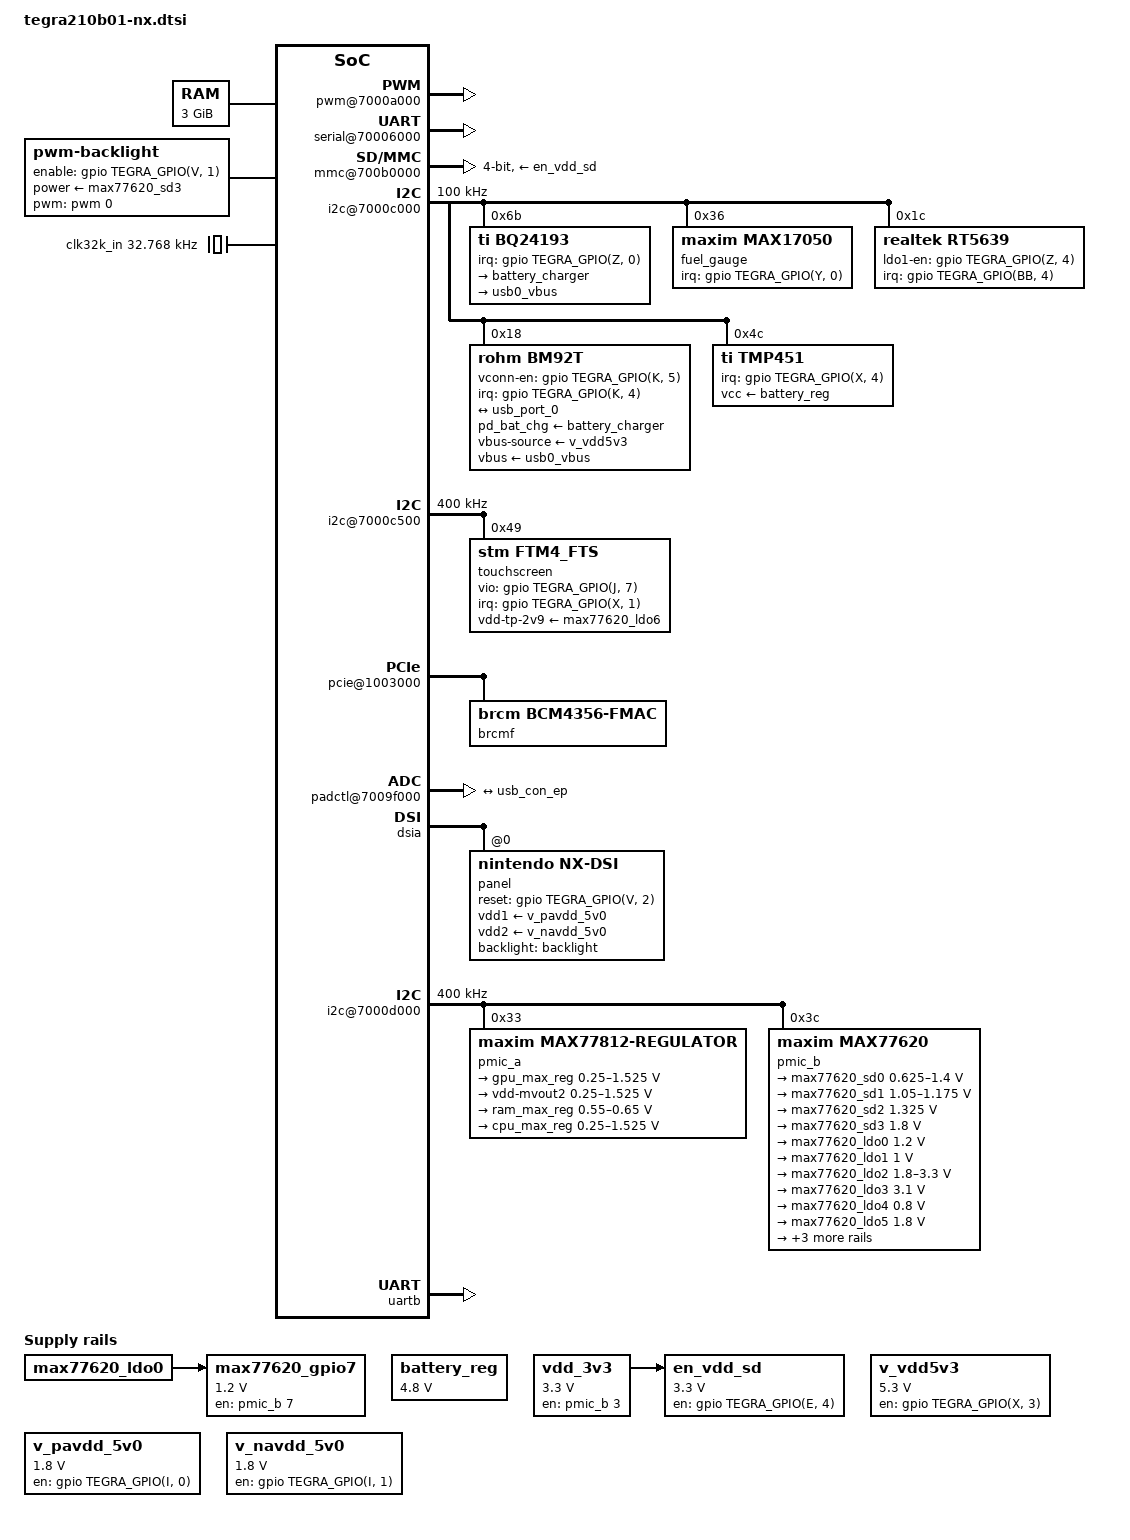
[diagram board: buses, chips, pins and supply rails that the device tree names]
// SPDX-License-Identifier: GPL-2.0
#include <dt-bindings/mfd/max77620.h>
#include <dt-bindings/thermal/tegra210b01-trips.h>
#include <dt-bindings/thermal/thermal.h>

#include "tegra210b01.dtsi"

/ {
	aliases {
		serial0 = &uarta;
		serial1 = &uartb;
	};

	chosen {
		stdout-path = "serial1:115200n8";
	};

	memory@80000000 {
		device_type = "memory";
		reg = <0x0 0x80000000 0x0 0xc0000000>;
	};

	pwm@7000a000 {
		status = "okay";
		#pwm-cells = <2>;
	};

	serial@70006000 {
		/delete-property/ dmas;
		/delete-property/ dma-names;
		status = "okay";
	};

	/* SDMMC4 for EMMC */
	mmc@700b0600 {
		status = "disabled";
		bus-width = <8>;
		max-frequency = <200000000>;

		cd-gpios = <&gpio TEGRA_GPIO(Z, 1) GPIO_ACTIVE_HIGH>;

		cap-mmc-highspeed;
		mmc-ddr-1_8v;
		mmc-hs200-1_8v;
		mmc-hs400-1_8v;
		non-removable;

		vqmmc-supply = <&max77620_sd3>;
		vmmc-supply = <&vdd_3v3>;
	};

	/* SDMMC3 Not Used */
	mmc@700b0400 {
		status = "disabled";
	};

	/* SDMMC2 for Gamecard */
	mmc@700b0200 {
		status = "disabled";
		bus-width = <8>;
		max-frequency = <200000000>;

		mmc-ddr-1_8v;
		mmc-hs400-1_8v;
		mmc-hs200-1_8v;
		cap-mmc-highspeed;
		cap-sd-highspeed;
		non-removable;

		vqmmc-supply = <&max77620_sd3>;
		vmmc-supply = <&vdd_3v3>;
	};

	/* SDMMC1 for SD Card */
	mmc@700b0000 {
		status = "okay";
		bus-width = <4>;
		max-frequency = <200000000>;

		cap-sd-highspeed;
		sd-uhs-sdr12;
		sd-uhs-sdr50;
		sd-uhs-sdr104;

		vmmc-supply = <&en_vdd_sd>;
		vqmmc-supply = <&max77620_ldo2>;
	};

	i2c@7000c000 {
		status = "okay";
		clock-frequency = <100000>;

		bq24193@6b {
			compatible = "ti,bq24193";
			reg = <0x6b>;

			interrupt-parent = <&gpio>;
			interrupts = <TEGRA_GPIO(Z, 0) IRQ_TYPE_LEVEL_LOW>;

			monitored-battery = <&fuel_gauge>;
			#extcon-cells = <1>;

			omit-battery-class;

			battery_charger: charger {
				regulator-name = "batt_regulator";
				regulator-max-microamp = <4500000>;
			};

			usb0_vbus: usb-otg-vbus {
				regulator-name = "vbus_regulator";
			};
		};

		fuel_gauge: fuel-gauge@36 {
			compatible = "maxim,max17050";
			status = "okay";
			reg = <0x36>;

			interrupt-parent = <&gpio>;
			interrupts = <TEGRA_GPIO(Y, 0) IRQ_TYPE_NONE>;

			/* Actual is 5000 but driver does not account for CGAIN */
			/* And does not take into account Rsense and CGAIN for capacity */
			maxim,rsns-microohm = <10000>;
			maxim,over-heat-temp = <600>;
			maxim,dead-volt = <3000>;
			maxim,over-volt = <4208>; /* Actual: 4258 mV */

			#thermal-sensor-cells = <0>;
		};

		rt5639: audio-codec@1c {
			status = "okay";
			compatible = "realtek,rt5639";
			reg = <0x1c>;
			interrupt-parent = <&gpio>;
			interrupts = <TEGRA_GPIO(BB, 4) IRQ_TYPE_EDGE_RISING>;
			realtek,ldo1-en-gpios = <&gpio TEGRA_GPIO(Z, 4) GPIO_ACTIVE_HIGH>;
			realtek,over-current-threshold-microamp = <600>;
			realtek,over-current-scale-factor = <2>;
			realtek,jack-detect-is-jd1;
		};

		/* PD Chip */
		bm92t: bm92t@18 {
			compatible = "rohm,bm92t";
			reg = <0x18>;
			interrupt-parent = <&gpio>;
			interrupts = <TEGRA_GPIO(K, 4) IRQ_TYPE_EDGE_RISING>;
			#extcon-cells = <1>;
			pd_bat_chg-supply = <&battery_charger>;
			vbus-source-supply = <&v_vdd5v3>;
			vbus-supply = <&usb0_vbus>;
			rohm,vconn-en-gpio = <&gpio TEGRA_GPIO(K, 5) GPIO_ACTIVE_HIGH>;

			rohm,dp-lanes = <2>;
			rohm,dp-signal-toggle-on-resume;

			/* Absolute max is 2.4A, constrained by BQ24193 ILIM */
			rohm,pd-5v-current-limit-ma = <2000>;
			rohm,pd-9v-current-limit-ma = <2000>;
			rohm,pd-12v-current-limit-ma = <1500>;
			rohm,pd-15v-current-limit-ma = <1200>;

			port {
				usb_con_ep: endpoint {
					remote-endpoint = <&usb_port_0>;
				};
			};
		};

		tmp451: temperature-sensor@4c {
			compatible = "ti,tmp451";
			status = "okay";
			reg = <0x4c>;

			interrupt-parent = <&gpio>;
			interrupts = <TEGRA_GPIO(X, 4) IRQ_TYPE_EDGE_FALLING>;
			vcc-supply = <&battery_reg>;

			#thermal-sensor-cells = <1>;
		};
    	};

	/* i2c3 @ 400000hz
	49: stm touchscreen controller
	*/
	i2c@7000c500 {
		status = "okay";
		clock-frequency = <400000>;

		touchscreen@49 {
			compatible = "stm,ftm4_fts";
			status = "okay";
			reg = <0x49>;
			interrupt-parent = <&gpio>;
			interrupts = <TEGRA_GPIO(X, 1) IRQ_TYPE_LEVEL_LOW>;
			vdd-tp-2v9-supply = <&max77620_ldo6>;
			stm,vio-gpio = <&gpio TEGRA_GPIO(J, 7) GPIO_ACTIVE_HIGH>;
			stm,irq_type = <0x2000>; /* IRQF_ONESHOT */
			stm,regulator_avdd = "vdd-tp-2v9";
			stm,max_coords = <1280 720>;
			stm,max-real-coords = <1264 704>;
			stm,edge-offset = <15 15>;
			stm,delayed-open;
			stm,delayed-open-time = <0>;
		};
	};

	gpu@57000000 {
		status = "okay";
		vdd-supply = <&gpu_max_reg>;
	};

	backlight: backlight {
		status = "okay";
		compatible = "pwm-backlight";
		pwms = <&pwm 0 33898>;
		pwm-names = "backlight";
		brightness-levels = <
			0 1 2 3 4 5 6 7 8 9 10 11 12 13 14 15 16
			17 18 19 20 21 22 23 24 25 26 27 28 29 30
			31 32 33 34 35 36 37 38 39 40 41 42 43 44
			45 46 47 48 49 50 51 52 53 54 55 56 57 58
			59 60 61 62 63 64 65 66 67 68 69 70 71 72
			73 74 75 76 77 78 79 80 81 82 83 84 85 86
			87 88 89 90 91 92 93 94 95 96 97 98 99 100
		>;
		default-brightness-level = <50>;
		enable-gpios = <&gpio TEGRA_GPIO(V, 1) GPIO_ACTIVE_HIGH>;
		power-supply = <&max77620_sd3>;
	};

	/* Fixed regulators */
	battery_reg: vdd-ac-bat {
		compatible = "regulator-fixed";
		status = "okay";
		regulator-name = "vdd-ac-bat";
		regulator-min-microvolt = <4800000>;
		regulator-max-microvolt = <4800000>;
		regulator-always-on;
		regulator-boot-on;
	};

	vdd_3v3: vdd-3v3 {
		compatible = "regulator-fixed";
		regulator-name = "vdd-3v3";
		regulator-min-microvolt = <3300000>;
		regulator-max-microvolt = <3300000>;
		regulator-always-on;
		gpio = <&pmic_b 3 0>;
		enable-active-high;
		regulator-enable-ramp-delay = <160>;
		regulator-disable-ramp-delay = <10000>;
	};

	v_vdd5v3: v-vdd5v3 {
		compatible = "regulator-fixed";
		status = "okay"; /* Only enabled on Modin/Vali/Fric */
		regulator-name = "v_vdd5v3";
		regulator-min-microvolt = <5300000>;
		regulator-max-microvolt = <5300000>;
		gpio = <&gpio TEGRA_GPIO(X, 3) 0>;
		enable-active-high;
		regulator-enable-ramp-delay = <10000>;
	};

	max77620_gpio7: avdd-dsi-csi-1v2 {
		compatible = "regulator-fixed";
		regulator-name = "max77620-gpio7";
		regulator-min-microvolt = <1200000>;
		regulator-max-microvolt = <1200000>;
		regulator-boot-on; /* Must be set for seamless display */
		gpio = <&pmic_b 7 0>;
		enable-active-high;
		regulator-enable-ramp-delay = <240>;
		regulator-disable-ramp-delay = <11340>;
		vin-supply = <&max77620_ldo0>;
	};

	// lcd_bl_en: lcd-bl-en {
	// 	compatible = "regulator-fixed";
	// 	regulator-name = "lcd-bl-en";
	// 	regulator-min-microvolt = <1800000>;
	// 	regulator-max-microvolt = <1800000>;
	// 	gpio = <&gpio TEGRA_GPIO(V, 1) 0>;
	// 	regulator-boot-on; /* Must be set for seamless display */
	// 	enable-active-high;
	// 	regulator-always-on;
	// 	regulator-state-mem {
	// 		regulator-off-in-suspend;
	// 	};
	// };

	en_vdd_sd: en-vdd-sd {
		compatible = "regulator-fixed";
		regulator-name = "en-vdd-sd";
		regulator-min-microvolt = <3300000>;
		regulator-max-microvolt = <3300000>;
		gpio = <&gpio TEGRA_GPIO(E, 4) 0>;
		enable-active-high;
		regulator-enable-ramp-delay = <472>;
		regulator-disable-ramp-delay = <4880>;
		vin-supply = <&vdd_3v3>;
	};

	/* LCD Power Enable +5V. Rohm BD8316GWL. */
	v_pavdd_5v0: v-pavdd-5v0 {
		compatible = "regulator-fixed";
		regulator-name = "v_pavdd_5v0";
		regulator-min-microvolt = <1800000>;
		regulator-max-microvolt = <1800000>;
		gpio = <&gpio TEGRA_GPIO(I, 0) 0>;
		enable-active-high;
		regulator-boot-on; /* Must be set for seamless display */
		regulator-enable-ramp-delay = <232>;
	};

	/* LCD Power Enable -5V. Rohm BD8316GWL. */
	v_navdd_5v0: v-navdd-5v0 {
		compatible = "regulator-fixed";
		regulator-name = "v_navdd_5v0";
		regulator-min-microvolt = <1800000>;
		regulator-max-microvolt = <1800000>;
		gpio = <&gpio TEGRA_GPIO(I, 1) 0>;
		enable-active-high;
		regulator-boot-on; /* Must be set for seamless display */
		regulator-enable-ramp-delay = <232>;
	};

	soctherm@700E2000 {
		throttle-cfgs {
			/* PG/ACOK/USB OC pin. CLK_32K_OUT. Used for LED PWM on Vali. */
			/*
			throttle_oc1: oc1 { // Sticky mode but not supported.
				nvidia,priority = <16>;
				nvidia,polarity-active-low = <1>;
				nvidia,count-threshold = <0>;
				nvidia,throttle-period = <2500000>;
				nvidia,alarm-filter = <0xFFFFFFFF>;
				nvidia,cpu-throt-percent = <75>;
				nvidia,gpu-throt-level = <TEGRA_SOCTHERM_THROT_LEVEL_MED>;
			};
			*/

			/* Battery OC pin. GPIO_PL1. Traced but missing resistor. */
			/*
			throttle_oc2: oc2 {
				nvidia,priority = <24>;
				nvidia,polarity-active-low = <1>;
				nvidia,count-threshold = <0>;
				nvidia,throttle-period = <100>;
				nvidia,alarm-filter = <0xFFFFFFFF>;
				nvidia,cpu-throt-percent = <75>;
				nvidia,gpu-throt-level = <TEGRA_SOCTHERM_THROT_LEVEL_MED>;
			};
			*/

			/* throttle_oc3: oc3: GPIO_PZ5. Floating. */
		};
	};

	thermal-zones {
		PLL-therm {
			status = "okay";
			polling-delay-passive = <500>;
			thermal-zone-params {
				governor-name = "step_wise";
			};
			trips {
				cpu_heavy {
					temperature = <94500>;
					hysteresis = <0>;
					type = "hot";
					writable;
				};
				cpu_throttle {
					temperature = <90500>;
					hysteresis = <0>;
					type = "passive";
					writable;
				};
				cpu_critical {
					temperature = <96000>;
					hysteresis = <0>;
					type = "critical";
					writable;
				};
				dfll_cap_trip0: dfll-cap-trip0 {
					temperature = <TEGRA210B01_DFLL_THERMAL_CAP_0>;
					hysteresis = <1000>; /* millicelsius */
					type = "active";
				};
				dfll_cap_trip1: dfll-cap-trip1 {
					temperature = <TEGRA210B01_DFLL_THERMAL_CAP_1>;
					hysteresis = <1000>; /* millicelsius */
					type = "active";
				};
			};
			// cooling-maps {
			// 	map0 {
			// 		trip = <&{/thermal-zones/PLL-therm/trips/cpu_heavy}>;
			// 		cdev-type = "tegra-heavy";
			// 		cooling-device = <&throttle_heavy 1 1>;
			// 	};
			// 	map1 {
			// 		trip = <&{/thermal-zones/PLL-therm/trips/cpu_throttle}>;
			// 		cdev-type = "cpu-balanced";
			// 		cooling-device = <&{/bthrot_cdev/cpu_balanced}
			// 			THERMAL_NO_LIMIT THERMAL_NO_LIMIT>;
			// 	};
			// 	dfll-cap-map0 {
			// 		trip = <&dfll_cap_trip0>;
			// 		cooling-device = <&dfll_cap 1 1>;
			// 	};
			// 	dfll-cap-map1 {
			// 		trip = <&dfll_cap_trip1>;
			// 		cooling-device = <&dfll_cap 2 2>;
			// 	};
			// };
		};
		Tboard_tegra {
			status = "okay";
			polling-delay = <0>;
			polling-delay-passive = <5500>;

			trips {
				board_emergency {
					temperature = <85000>;
					hysteresis = <2000>;
					type = "passive";
					writable;
				};
			};
			// cooling-maps {
			// 	map0 {
			// 		trip = <&{/thermal-zones/Tboard_tegra/trips/board_emergency}>;
			// 		cdev-type = "emergency-balanced";
			// 		cooling-device = <&{/bthrot_cdev/emergency_balanced}
			// 			THERMAL_NO_LIMIT THERMAL_NO_LIMIT>;
			// 	};
			// };
		};
		Tdiode_tegra {
			status = "okay";
			polling-delay = <0>;
			polling-delay-passive = <1100>;

			trips {
				gpu_shutdown {
					temperature = <92500>;
					hysteresis = <0>;
					type = "critical";
					writable;
				};

				gpu_throttle {
					temperature = <86000>;
					hysteresis = <0>;
					type = "passive";
					writable;
				};
				gpu_scaling_trip0: gpu-scaling-trip0 {
					temperature = <(TEGRA210B01_GPU_DVFS_THERMAL_MIN)>;
					hysteresis = <0>; /* millicelsius */
					type = "active";
				};
				gpu_scaling_trip1: gpu-scaling-trip1 {
					temperature = <TEGRA210B01_GPU_DVFS_THERMAL_TRIP_1>;
					hysteresis = <1000>; /* millicelsius */
					type = "active";
				};
				gpu_scaling_trip2: gpu-scaling-trip2 {
					temperature = <TEGRA210B01_GPU_DVFS_THERMAL_TRIP_2>;
					hysteresis = <1000>; /* millicelsius */
					type = "active";
				};
				gpu_scaling_trip3: gpu-scaling-trip3 {
					temperature = <TEGRA210B01_GPU_DVFS_THERMAL_TRIP_3>;
					hysteresis = <1000>; /* millicelsius */
					type = "active";
				};
				gpu_scaling_trip4: gpu-scaling-trip4 {
					temperature = <TEGRA210B01_GPU_DVFS_THERMAL_TRIP_4>;
					hysteresis = <1000>; /* millicelsius */
					type = "active";
				};
				gpu_scaling_trip5: gpu-scaling-trip5 {
					temperature = <TEGRA210B01_GPU_DVFS_THERMAL_TRIP_5>;
					hysteresis = <1000>; /* millicelsius */
					type = "active";
				};

				gpu_vmax_trip1: gpu-vmax-trip1 {
					temperature = <TEGRA210B01_GPU_DVFS_THERMAL_CAP_1>;
					hysteresis = <1000>; /* millicelsius */
					type = "active";
				};
				core_dvfs_floor_trip0: core_dvfs_floor_trip0 {
					temperature = <TEGRA210B01_SOC_THERMAL_FLOOR_0>;
					hysteresis = <1000>;
					type = "active";
				};

				core_dvfs_cap_trip0: core_dvfs_cap_trip0 {
					temperature = <TEGRA210B01_SOC_THERMAL_CAP_0>;
					hysteresis = <1000>;
					type = "active";
				};
				soc_critical {
					temperature = <96000>;
					hysteresis = <0>;
					type = "critical";
					writable;
				};
				soc_emergency {
					temperature = <85000>;
					hysteresis = <2000>;
					type = "passive";
					writable;
				};
				dfll_floor_trip0: dfll-floor-trip0 {
					temperature = <TEGRA210B01_DFLL_THERMAL_FLOOR_0>;
					hysteresis = <1000>; /* millicelsius */
					type = "active";
				};
			};
			cooling-maps {
				// map0 {
				// 	trip = <&{/thermal-zones/Tdiode_tegra/trips/soc_critical}>;
				// 	cdev-type = "tegra-shutdown";
				// 	cooling-device = <&{/soctherm@0x700E2000/throttle@critical}
				// 		THERMAL_NO_LIMIT THERMAL_NO_LIMIT>;
				// };
				// map1 {
				// 	trip = <&{/thermal-zones/Tdiode_tegra/trips/soc_emergency}>;
				// 	cdev-type = "emergency-balanced";
				// 	cooling-device = <&{/bthrot_cdev/emergency_balanced}
				// 		THERMAL_NO_LIMIT THERMAL_NO_LIMIT>;
				// };
				// gpu-scaling-map1 {
				// 	trip = <&gpu_scaling_trip1>;
				// 	cooling-device = <&gpu_scaling_cdev 1 1>;
				// };
				// gpu-scaling-map2 {
				// 	trip = <&gpu_scaling_trip2>;
				// 	cooling-device = <&gpu_scaling_cdev 2 2>;
				// };
				// gpu_scaling_map3 {
				// 	trip = <&gpu_scaling_trip3>;
				// 	cooling-device = <&gpu_scaling_cdev 3 3>;
				// };
				// gpu-scaling-map4 {
				// 	trip = <&gpu_scaling_trip4>;
				// 	cooling-device = <&gpu_scaling_cdev 4 4>;
				// };
				// gpu-scaling-map5 {
				// 	trip = <&gpu_scaling_trip5>;
				// 	cooling-device = <&gpu_scaling_cdev 5 5>;
				// };

				// gpu-vmax-map1 {
				// 	trip = <&gpu_vmax_trip1>;
				// 	cooling-device = <&gpu_vmax_cdev 1 1>;
				// };

				core_dvfs_floor_map0 {
					trip = <&core_dvfs_floor_trip0>;
					cooling-device = <&core_dvfs_floor 1 1>;
				};
				core_dvfs_cap_map0 {
					trip = <&core_dvfs_cap_trip0>;
					cooling-device = <&core_dvfs_cap 1 1>;
				};

				dfll-floor-map0 {
					trip = <&dfll_floor_trip0>;
					cooling-device = <&dfll_floor 1 1>;
				};
				// map2 {
				// 	trip = <&{/thermal-zones/Tdiode_tegra/trips/gpu_throttle}>;
				// 	cdev-type = "gpu-balanced";
				// 	cooling-device = <&{/bthrot_cdev/gpu_balanced}
				// 		THERMAL_NO_LIMIT THERMAL_NO_LIMIT>;
				// };
			};
		};
		AO-therm {
			status = "okay";
		};
	};

	pcie@1003000 {
		status = "okay";
		/* R08: GPIO is exclusively owned by PCIe for a real cold cycle. */
		wlan-reg-on-gpios = <&gpio TEGRA_GPIO(H, 1) GPIO_ACTIVE_HIGH>;

		avdd-pll-uerefe-supply = <&max77620_ldo1>;
		hvddio-pex-supply = <&max77620_sd3>;
		dvddio-pex-supply = <&max77620_ldo1>;
		dvdd-pex-pll-supply = <&max77620_ldo1>;
		hvdd-pex-pll-e-supply = <&max77620_sd3>;
		vddio-pex-ctl-supply = <&max77620_sd3>;

		pci@1,0 {
			nvidia,num-lanes = <2>;
			phys =	<&{/padctl@7009f000/pads/pcie/lanes/pcie-3}>, /* Referred to plat config */
				<&{/padctl@7009f000/pads/pcie/lanes/pcie-2}>;
			phy-names = "pcie-0", "pcie-1";
			status = "disabled";
		};

		pci@2,0 {
			status = "okay";
			/* R10: match the working L4T PCIe CLKREQ# policy. */
			supports-clkreq;
			phys = <&{/padctl@7009f000/pads/pcie/lanes/pcie-0}>;
			phy-names = "pcie-0";

			brcmf { /* PCIE-0 (Port 1) */
				compatible = "brcm,bcm4356-fmac";
			};
		};
	};

	padctl@7009f000 {
		status =  "okay";

		pads {
			usb2 {
				status = "okay";

				lanes {
					usb2-0 {
						nvidia,hs_curr_level_offset = <6>;
						nvidia,function = "xusb";
						status = "okay";
					};
				};
			};

			pcie {
				status = "okay";

				lanes {
					/* BCM4356A3-WiFi */
					pcie-0 {
						nvidia,function = "pcie-x1";
						status = "okay";
					};

					/* Unused ports */
					pcie-1 {
						nvidia,function = "usb3-ss";
						status = "okay";
					};

					pcie-2 {
						nvidia,function = "pcie-x4";
						status = "okay";
					};

					pcie-3 {
						nvidia,function = "pcie-x4";
						status = "okay";
					};

					pcie-4 {
						nvidia,function = "usb3-ss";
						status = "okay";
					};

					/* USB3 port */
					pcie-5 {
						nvidia,function = "usb3-ss";
						status = "okay";
					};
				};
			};
		};

		ports {
			usb2-0 {
				status = "okay";
				mode = "otg";

				usb-role-switch;
				role-switch-default-mode = "peripheral";
				vbus-supply = <&battery_reg>;

				#address-cells = <1>;
				#size-cells = <0>;

				usb_port_0: endpoint@0 {
					reg = <0>;
					remote-endpoint = <&usb_con_ep>;
				};
			};

			usb3-0 {
				status = "okay";
				nvidia,usb2-companion = <0>;
			};
		};
	};

	pinmux@700008d4 {
		dsi_ab_pad_default: dsi_ab_pad_default {
			dsi_ab_pad_enable {
				nvidia,pins = "pad_dsi_ab";
				nvidia,pad-power = <TEGRA_PIN_ENABLE>;
			};
		};
		dsi_cd_pad_default: dsi_cd_pad_default {
			dsi_cd_pad_enable {
				nvidia,pins = "pad_dsi_cd";
				nvidia,pad-power = <TEGRA_PIN_ENABLE>;
			};
		};
		dsi_ab_pad_idle: dsi_ab_pad_idle {
			dsi_ab_pad_disable {
				nvidia,pins = "pad_dsi_ab";
				nvidia,pad-power = <TEGRA_PIN_DISABLE>;
			};
		};
		dsi_cd_pad_idle: dsi_cd_pad_idle {
			dsi_cd_pad_disable {
				nvidia,pins = "pad_dsi_cd";
				nvidia,pad-power = <TEGRA_PIN_DISABLE>;
			};
		};

		/* Always on for T210B01 NX */
		sdmmc1_schmitt_disable {
			sdmmc1 {
				nvidia,schmitt = <TEGRA_PIN_ENABLE>;
			};
		};
		sdmmc1_clk_schmitt_disable {
			sdmmc1 {
				nvidia,schmitt = <TEGRA_PIN_ENABLE>;
			};
		};
	};

	pmc@7000e400 {
		nvidia,invert-interrupt;
		nvidia,suspend-mode = <0>;
		nvidia,cpu-pwr-good-time = <0>;
		nvidia,cpu-pwr-off-time = <0>;
		nvidia,core-pwr-good-time = <13100 7800>;
		nvidia,core-pwr-off-time = <44160>;
		nvidia,core-power-req-active-high;
		nvidia,sys-clock-req-active-high;
		status = "okay";

		// TODO
		// bootrom-commands {
		// 	reset-commands {
		// 		nvidia,command-retries-count = <2>;
		// 		nvidia,delay-between-commands-us = <10>;
		// 		nvidia,wait-before-start-bus-clear-us = <10>;
		// 		#address-cells = <1>;
		// 		#size-cells = <0>;

		// 		commands@4-0068 {
		// 			nvidia,command-names = "r2p-setup";
		// 			reg = <0x68>;
		// 			nvidia,enable-8bit-register;
		// 			nvidia,enable-8bit-data;
		// 			nvidia,controller-type-i2c;
		// 			nvidia,controller-id = <4>;
		// 			nvidia,enable-controller-reset;
		// 			nvidia,write-commands = <
		// 					0x13 0x00 /* r2p enc 0 */
		// 					0x1A 0x00 /* r2p enc 1 */
		// 					0x11 0x00 /* r2p mgc 0 */
		// 					0x18 0x00 /* r2p mgc 1 */
		// 					0x04 0x01 /* Update RTC regs */
		// 				>;
		// 		};
		// 		commands@4-003c {
		// 			nvidia,command-names = "pmic-rails";
		// 			reg = <0x3c>;
		// 			nvidia,enable-8bit-register;
		// 			nvidia,enable-8bit-data;
		// 			nvidia,controller-type-i2c;
		// 			nvidia,controller-id = <4>;
		// 			nvidia,enable-controller-reset;
		// 			nvidia,write-commands = <
		// 					0x16 0x20 /* Set 1.0V and disable SD0 */
		// 					0x42 0x99 /* Wake reasons: SFT_RST/ACOK/LID/EN0 */
		// 					0x41 0x80 /* Reboot */
		// 				>;
		// 		};
		// 	};
		// };
	};

	clk32k_in: clock-32k {
		compatible = "fixed-clock";
		clock-frequency = <32768>;
		#clock-cells = <0>;
	};

	host1x@50000000 {
		vic@54340000 {
			status = "disabled";
		};
		nvjpg@54380000 {
			status = "disabled";
		};
		nvdec@54480000 {
			status = "disabled";
		};
		nvenc@544c0000 {
			status = "disabled";
		};

		dsia: dsi@54300000 {
			status = "okay";

			avdd-dsi-csi-supply = <&max77620_ldo0>;

			panel: panel@0 {
				reg = <0>;
				status = "okay";

				compatible = "nintendo,nx-dsi";
				reset-gpios = <&gpio TEGRA_GPIO(V, 2) GPIO_ACTIVE_HIGH>;
				nintendo,panel-id = <&pmc_scratch 0x31c>;
				backlight = <&backlight>;
				vdd1-supply = <&v_pavdd_5v0>;
				vdd2-supply = <&v_navdd_5v0>;
			};
		};

		dc@54200000 {
			status = "okay";

			// pinctrl-names = "pad_ab_default", "pad_ab_idle",
			// 	"pad_cd_default", "pad_cd_idle";
			// pinctrl-0 = <&dsi_ab_pad_default>;
			// pinctrl-1 = <&dsi_ab_pad_idle>;
			// pinctrl-2 = <&dsi_cd_pad_default>;
			// pinctrl-3 = <&dsi_cd_pad_idle>;

			nvidia,outputs = <&dsia>;
		};

		/* tegradc.1: DP */
		dc@54240000 {
			status = "okay";

			extcon-cables = <&bm92t 3>;
			extcon-cable-names = "typec1";

			//nvidia,outputs = <&sor1>;pa
		};
	};

	tegra_clk_dfll: clock@70110000 {
		status = "okay";
		vdd-cpu-supply = <&cpu_max_reg>;
		nvidia,align-step-uv = <5000>;
		nvidia,sample-rate = <12500>;
		nvidia,droop-ctrl = <0x00000f00>;
		nvidia,force-mode = <1>;
		nvidia,cf = <6>;
		nvidia,ci = <0>;
		nvidia,cg = <2>;
		nvidia,i2c-fs-rate = <400000>;
		nvidia,pmic-undershoot-gb = <0>; /* Use pmic default min */
		/* nvidia,dfll-max-freq-khz = <1683000>; */
	};

	cpus {
		cpu@0 {
			enable-method = "psci";
		};

		cpu@1 {
			enable-method = "psci";
		};

		cpu@2 {
			enable-method = "psci";
		};

		cpu@3 {
			enable-method = "psci";
		};
	};

	psci {
		compatible = "arm,psci-1.0";
		method = "smc";
	};

	i2c@7000d000 {
		status = "okay";
		clock-frequency = <400000>;

		pmic_a: pmic@33 {
			compatible = "maxim,max77812-regulator";
			reg = <0x33>;
			maxim,soft-start-slew-rate = <5000>;
			maxim,shutdown-slew-rate = <5000>;
			maxim,ramp-up-slew-rate = <5000>;
			maxim,ramp-down-slew-rate = <5000>;
			status = "okay";

			/* interrupt-parent = <&gpio>; */
			/* interrupts = <TEGRA_GPIO(K, 6) IRQ_TYPE_NONE>; */

			regulators {
				gpu_max_reg: m1vout {
					regulator-name = "vdd-gpu";
					regulator-min-microvolt = <250000>;
					regulator-max-microvolt = <1525000>;
					/* regulator-max-microamp = <10000000>; */ /* 0x33 cfg */
					/* regulator-max-microamp = <15000000>; */ /* 0x31 cfg */
					regulator-init-microvolt = <800000>;
					regulator-ramp-delay = <5000>;
					regulator-enable-ramp-delay = <5000>;
					regulator-disable-ramp-delay = <5000>;
					maxim,peak-current-limit-ua = <7200000>;
				};

				m2vout {
					regulator-name = "vdd-mvout2";
					regulator-min-microvolt = <250000>;
					regulator-max-microvolt = <1525000>;
					regulator-ramp-delay = <5000>;
					regulator-enable-ramp-delay = <5000>;
					regulator-disable-ramp-delay = <5000>;
					maxim,peak-current-limit-ua = <7200000>;
				};

				ram_max_reg: m3vout {
					status = "okay";
					regulator-name = "vddio-ddr";
					regulator-min-microvolt = <550000>; /* Set min lpddr4x normally allowed */
					regulator-max-microvolt = <650000>; /* Set max lpddr4x normally allowed */
					/* regulator-max-microamp = <5000000>; */
					regulator-always-on;
					regulator-boot-on;
					/* regulator-init-microvolt = <600000>; */ /* Controlled by bootloader */
					regulator-ramp-delay = <5000>;
					regulator-enable-ramp-delay = <5000>;
					regulator-disable-ramp-delay = <5000>;
					maxim,peak-current-limit-ua = <7200000>;
				};

				cpu_max_reg: m4vout {
					regulator-name = "vdd-cpu";
					regulator-min-microvolt = <250000>;
					regulator-max-microvolt = <1525000>;
					/* regulator-max-microamp = <5000000>; */
					regulator-always-on;
					regulator-boot-on;
					regulator-init-microvolt = <1000000>;
					regulator-ramp-delay = <5000>;
					regulator-enable-ramp-delay = <5000>;
					regulator-disable-ramp-delay = <5000>;
					maxim,peak-current-limit-ua = <7200000>;
				};
			};
		};

		pmic_b: pmic@3c {
			compatible = "maxim,max77620";
			reg = <0x3c>;
			interrupts = <GIC_SPI 86 IRQ_TYPE_LEVEL_HIGH>;

			#interrupt-cells = <2>;
			interrupt-controller;

			gpio-controller;
			#gpio-cells = <2>;

			pinctrl-names = "default";
			pinctrl-0 = <&max77620_default>;

			fps {
				#address-cells = <1>;
				#size-cells = <0>;

				fps0 {
					reg = <0>;
					maxim,shutdown-fps-time-period-us = <5120>;
					maxim,fps-event-source = <MAX77620_FPS_EVENT_SRC_EN0>;
				};

				fps1 {
					reg = <1>;
					maxim,shutdown-fps-time-period-us = <5120>;
					maxim,fps-event-source = <MAX77620_FPS_EVENT_SRC_EN1>;
					maxim,device-state-on-disabled-event = <MAX77620_FPS_INACTIVE_STATE_SLEEP>;
				};

				fps2 {
					reg = <2>;
					maxim,shutdown-fps-time-period-us = <5120>;
					maxim,fps-event-source = <MAX77620_FPS_EVENT_SRC_EN0>;
				};
			};

			// hog-0 {
			// 	gpio-hog;
			// 	output-high;
			// 	gpios = <2 GPIO_ACTIVE_HIGH>,
			// 		<7 GPIO_ACTIVE_HIGH>;
			// };

			max77620_default: pinmux {
				gpio0 {
					pins = "gpio0";
					function = "gpio";
				};

				gpio1 {
					pins = "gpio1";
					function = "fps-out";
					drive-open-drain = <1>;
					maxim,active-fps-source = <MAX77620_FPS_SRC_0>;
					maxim,active-fps-power-up-slot = <5>;
					maxim,active-fps-power-down-slot = <0>;
				};

				gpio2 {
					pins = "gpio2";
					function = "fps-out";
					drive-open-drain = <1>;
					maxim,active-fps-source = <MAX77620_FPS_SRC_0>;
					maxim,active-fps-power-up-slot = <6>;
					maxim,active-fps-power-down-slot = <0>;
				};

				gpio3 {
					pins = "gpio3";
					function = "fps-out";
					drive-open-drain = <1>;
					maxim,active-fps-source = <MAX77620_FPS_SRC_0>;
					maxim,active-fps-power-up-slot = <3>;
					maxim,active-fps-power-down-slot = <0>;
				};

				gpio4 {
					pins = "gpio4";
					function = "32k-out1";
				};

				gpio5_6_7 {
					pins = "gpio5", "gpio6", "gpio7";
					function = "gpio";
					drive-open-drain = <1>;
				};
			};

			regulators {
				in-ldo0-1-supply = <&max77620_sd2>;
				in-ldo7-8-supply = <&max77620_sd2>;

				max77620_sd0: sd0 {
					regulator-name = "vdd-core";
					regulator-min-microvolt = <625000>;
					regulator-max-microvolt = <1400000>;
					regulator-boot-on;
					regulator-always-on;
					maxim,active-fps-source = <MAX77620_FPS_SRC_1>;
					maxim,active-fps-power-up-slot = <1>;
					maxim,active-fps-power-down-slot = <7>;
					// regulator-initial-mode = <REGULATOR_MODE_NORMAL>;
					regulator-enable-ramp-delay = <50>;
					regulator-disable-ramp-delay = <4080>;
					maxim,ramp-rate-setting = <27500>;
					regulator-ramp-delay = <27500>;
				};

				max77620_sd1: sd1 {
					regulator-name = "vdd-ddr";
					regulator-min-microvolt = <1050000>;
					regulator-max-microvolt = <1175000>;
					regulator-always-on;
					regulator-boot-on;
					/* regulator-init-microvolt = <1100000>; */ /* Controlled by bootloader */
					// regulator-initial-mode = <REGULATOR_MODE_NORMAL>;
					maxim,active-fps-source = <MAX77620_FPS_SRC_0>;
					maxim,active-fps-power-up-slot = <5>;
					maxim,active-fps-power-down-slot = <2>;
					regulator-enable-ramp-delay = <60>;
					regulator-disable-ramp-delay = <145800>;
					maxim,ramp-rate-setting = <27500>;
					regulator-ramp-delay = <27500>;
				};

				max77620_sd2: sd2 {
					regulator-name = "vdd-pre-reg";
					regulator-min-microvolt = <1325000>;
					regulator-max-microvolt = <1325000>;
					regulator-always-on;
					regulator-boot-on;
					maxim,active-fps-source = <MAX77620_FPS_SRC_NONE>;
					maxim,active-fps-power-up-slot = <0>;
					maxim,active-fps-power-down-slot = <0>;
					regulator-enable-ramp-delay = <40>;
					regulator-disable-ramp-delay = <20000>;
					maxim,ramp-rate-setting = <27500>;
					regulator-ramp-delay = <27500>;
				};

				max77620_sd3: sd3 {
					regulator-name = "vdd-1v8";
					regulator-min-microvolt = <1800000>;
					regulator-max-microvolt = <1800000>;
					regulator-always-on;
					regulator-boot-on;
					maxim,active-fps-source = <MAX77620_FPS_SRC_0>;
					maxim,active-fps-power-up-slot = <2>;
					maxim,active-fps-power-down-slot = <4>;
					// regulator-initial-mode = <REGULATOR_MODE_NORMAL>;
					regulator-enable-ramp-delay = <50>;
					regulator-disable-ramp-delay = <118000>;
					maxim,ramp-rate-setting = <27500>;
					regulator-ramp-delay = <27500>;
				};

				max77620_ldo0: ldo0 {
					regulator-name = "avdd-sys";
					regulator-min-microvolt = <1200000>;
					regulator-max-microvolt = <1200000>;
					regulator-boot-on; /* Must be set for seamless display */
					maxim,active-fps-source = <MAX77620_FPS_SRC_NONE>;
					maxim,active-fps-power-up-slot = <0>;
					maxim,active-fps-power-down-slot = <0>;
					regulator-enable-ramp-delay = <50>;
					regulator-disable-ramp-delay = <4000>;
					maxim,ramp-rate-setting = <50000>;
					regulator-ramp-delay = <50000>;
				};

				max77620_ldo1: ldo1 {
					regulator-name = "vdd-pex";
					regulator-min-microvolt = <1000000>;
					regulator-max-microvolt = <1000000>;
					maxim,active-fps-source = <MAX77620_FPS_SRC_NONE>;
					maxim,active-fps-power-up-slot = <0>;
					maxim,active-fps-power-down-slot = <0>;
					regulator-enable-ramp-delay = <50>;
					regulator-disable-ramp-delay = <7000>;
					maxim,ramp-rate-setting = <50000>;
					regulator-ramp-delay = <50000>;
				};

				max77620_ldo2: ldo2 {
					regulator-name = "vddio-sdmmc1";
					regulator-min-microvolt = <1800000>;
					regulator-max-microvolt = <3300000>;
					maxim,active-fps-source = <MAX77620_FPS_SRC_NONE>;
					maxim,active-fps-power-up-slot = <0>;
					maxim,active-fps-power-down-slot = <0>;
					regulator-enable-ramp-delay = <100>;
					regulator-disable-ramp-delay = <6000>;
					maxim,ramp-rate-setting = <50000>;
					regulator-ramp-delay = <50000>;
				};

				max77620_ldo3: ldo3 {
					regulator-name = "vdd-gc-3v1";
					regulator-min-microvolt = <3100000>;
					regulator-max-microvolt = <3100000>;
					maxim,active-fps-source = <MAX77620_FPS_SRC_NONE>;
					maxim,active-fps-power-up-slot = <0>;
					maxim,active-fps-power-down-slot = <0>;
					regulator-enable-ramp-delay = <100>;
					regulator-disable-ramp-delay = <3000>;
					maxim,ramp-rate-setting = <50000>;
					regulator-ramp-delay = <50000>;
				};

				max77620_ldo4: ldo4 {
					regulator-name = "vdd-rtc";
					regulator-min-microvolt = <800000>;
					regulator-max-microvolt = <800000>;
					regulator-always-on;
					regulator-boot-on;
					maxim,active-fps-power-up-slot = <0>;
					maxim,active-fps-power-down-slot = <7>;
					maxim,active-fps-source = <MAX77620_FPS_SRC_0>;
					regulator-enable-ramp-delay = <50>;
					regulator-disable-ramp-delay = <610>;
					maxim,ramp-rate-setting = <50000>;
					regulator-ramp-delay = <50000>;
				};

				/* GC Card Vddio */
				max77620_ldo5: ldo5 {
					regulator-name = "vdd-gc-1v8";
					regulator-min-microvolt = <1800000>;
					regulator-max-microvolt = <1800000>;
					maxim,active-fps-source = <MAX77620_FPS_SRC_NONE>;
					maxim,active-fps-power-up-slot = <0>;
					maxim,active-fps-power-down-slot = <0>;
					regulator-enable-ramp-delay = <70>;
					regulator-disable-ramp-delay = <3000>;
					maxim,ramp-rate-setting = <50000>;
					regulator-ramp-delay = <50000>;
				};

				/* Touch Panel, ALS. Powers LDO 1V8. */
				max77620_ldo6: ldo6 {
					regulator-name = "vdd-tp-2v9";
					regulator-min-microvolt = <2900000>;
					regulator-max-microvolt = <2900000>;
					regulator-boot-on; /* Decrease por time for Touch Panel. */
					maxim,active-fps-source = <MAX77620_FPS_SRC_NONE>;
					maxim,active-fps-power-up-slot = <0>;
					maxim,active-fps-power-down-slot = <0>;
					regulator-enable-ramp-delay = <100>;
					regulator-disable-ramp-delay = <3000>;
					maxim,ramp-rate-setting = <50000>;
					regulator-ramp-delay = <50000>;
				};

				/* PCIe reference PLL on Mariko. */
				max77620_ldo7: ldo7 {
					regulator-name = "vdd-gen-pll-edp";
					regulator-min-microvolt = <1000000>;
					regulator-max-microvolt = <1000000>;
					maxim,active-fps-source = <MAX77620_FPS_SRC_NONE>;
					maxim,active-fps-power-up-slot = <0>;
					maxim,active-fps-power-down-slot = <0>;
					regulator-enable-ramp-delay = <50>;
					regulator-disable-ramp-delay = <2768>;
					maxim,ramp-rate-setting = <50000>;
					regulator-ramp-delay = <50000>;
				};

				/* Odin/Modin/Fric: DP. */
				/* Vali: Powers LDO 2V8 for Sio VDD
				 * Powers LDO 1V8 for I2C1 VDDQ and ALC5639.
				 */
				max77620_ldo8: ldo8 {
					regulator-name = "vdd-hdmi-dp";
					regulator-min-microvolt = <1000000>;
					regulator-max-microvolt = <1000000>;
					maxim,active-fps-source = <MAX77620_FPS_SRC_NONE>;
					maxim,active-fps-power-up-slot = <0>;
					maxim,active-fps-power-down-slot = <0>;
					regulator-enable-ramp-delay = <50>;
					regulator-disable-ramp-delay = <4000>;
					maxim,ramp-rate-setting = <50000>;
					regulator-ramp-delay = <50000>;
				};
			};
		};
	};

	dfll_cap: dfll-cdev-cap {
		compatible = "nvidia,tegra-dfll-cdev-action";
		act-dev = <&tegra_clk_dfll>;
		cdev-type = "DFLL-cap";
		#cooling-cells = <2>; /* min followed by max */
	};

	dfll_floor: dfll-cdev-floor {
		compatible = "nvidia,tegra-dfll-cdev-action";
		act-dev = <&tegra_clk_dfll>;
		cdev-type = "DFLL-floor";
		#cooling-cells = <2>; /* min followed by max */
	};

	// gpu_scaling_cdev: gpu-scaling-cdev {
	// 	cooling-min-state = <0>;
	// 	cooling-max-state = <5>;
	// 	#cooling-cells = <2>;
	// 	compatible = "nvidia,tegra210-rail-scaling-cdev";
	// 	cdev-type = "gpu_scaling";
	// 	nvidia,constraint;
	// 	nvidia,trips = <&gpu_scaling_trip0 800 &gpu_scaling_trip1 0
	// 			&gpu_scaling_trip2 0 &gpu_scaling_trip3 0
	// 			&gpu_scaling_trip4 0 &gpu_scaling_trip5 0>;
	// };

	// gpu_vmax_cdev: gpu-vmax-cdev {
	// 	cooling-min-state = <0>;
	// 	cooling-max-state = <1>;
	// 	#cooling-cells = <2>;
	// 	compatible = "nvidia,tegra210-rail-vmax-cdev";
	// 	cdev-type = "GPU-cap";
	// 	nvidia,constraint-ucm2;
	// 	nvidia,trips = <&gpu_vmax_trip1 1010 1010>;
	// 	clocks = <&tegra_car TEGRA210_CLK_CAP_VGPU_GBUS>;
	// 	clock-names = "cap-clk";
	// 	status = "disabled";
	// };
	pmc_scratch: syscon@7000ec00 {
		compatible = "syscon";
		reg = <0x0 0x7000ec00 0x0 0x400>;
	};
};

&uartb {
	status = "okay";
};
